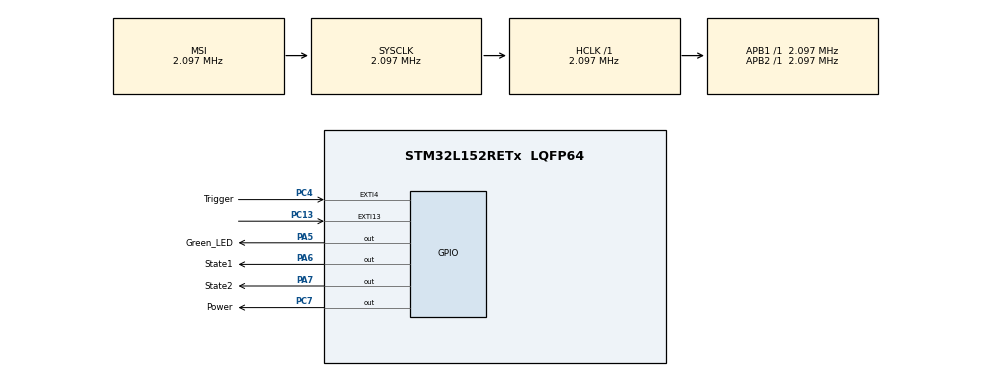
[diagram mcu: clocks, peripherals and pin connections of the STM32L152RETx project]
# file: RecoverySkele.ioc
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Mcu.Family=STM32L1
Mcu.Name=STM32L152RETx
Mcu.Package=LQFP64
NVIC.EXTI15_10_IRQn=true\:0\:0\:false\:false\:true\:true\:true
NVIC.EXTI4_IRQn=true\:0\:0\:false\:false\:true\:true\:true
NVIC.PriorityGroup=NVIC_PRIORITYGROUP_4
PA5.GPIO_Label=Green_LED
PA5.GPIO_Speed=GPIO_SPEED_FREQ_HIGH
PA5.Signal=GPIO_Output
PA6.GPIO_Label=State1
PA6.Signal=GPIO_Output
PA7.GPIO_Label=State2
PA7.Signal=GPIO_Output
PC13-WKUP2.Signal=GPXTI13
PC4.GPIO_Label=Trigger
PC4.Signal=GPXTI4
PC7.GPIO_Label=Power
PC7.Signal=GPIO_Output
ProjectManager.HeapSize=0x200
ProjectManager.StackSize=0x400
ProjectManager.TargetToolchain=MDK-ARM V5.27
RCC.AHBFreq_Value=2097000
RCC.APB1Freq_Value=2097000
RCC.APB2Freq_Value=2097000
RCC.HSE_VALUE=24000000
RCC.HSI_VALUE=16000000
RCC.LSE_VALUE=32768
RCC.MSI_VALUE=2097000
RCC.SYSCLKFreq_VALUE=2097000
RCC.VCOOutputFreq_Value=48000000
board=custom

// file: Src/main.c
/* USER CODE BEGIN Header */
/**
  ******************************************************************************
  * @file           : main.c
  * @brief          : Main program body
  ******************************************************************************
  * @attention
  *
  * <h2><center>&copy; Copyright (c) 2020 STMicroelectronics.
  * All rights reserved.</center></h2>
  *
  * This software component is licensed by ST under BSD 3-Clause license,
  * the "License"; You may not use this file except in compliance with the
  * License. You may obtain a copy of the License at:
  *                        opensource.org/licenses/BSD-3-Clause
  *
  ******************************************************************************
  */
/* USER CODE END Header */

#include "main.h"

/* USER CODE BEGIN Includes */
#include <stdio.h>
#include "fake_op.h"
/* USER CODE END Includes */

/* USER CODE BEGIN PTD */
typedef enum{
	P_Core = 0x1, S_Core = 0x2, Reboot = 0x3, Sleep = 0x4, Killed = 0x5
}States;
/* USER CODE END PTD */

/* USER CODE BEGIN PV */
int trigger = 0;
/* USER CODE END PV */

void SystemClock_Config(void);
static void MX_GPIO_Init(void);

/* USER CODE BEGIN 0 */
void display_LED(States *state);
void goodnight();
/* USER CODE END 0 */

int main(void)
{
  /* USER CODE BEGIN 1 */
	States state = P_Core;
  /* USER CODE END 1 */

  /* MCU Configuration--------------------------------------------------------*/

  /* Reset of all peripherals, Initializes the Flash interface and the Systick. */
  HAL_Init();

  /* Configure the system clock */
  SystemClock_Config();

  /* USER CODE BEGIN SysInit */
	SystemPower_Config();
  /* USER CODE END SysInit */

  /* Initialize all configured peripherals */
  MX_GPIO_Init();
  /* USER CODE BEGIN 2 */
	HAL_InitTick(0xF);
  /* USER CODE END 2 */

  /* Infinite loop */
  /* USER CODE BEGIN WHILE */
  while (1)
  {
    //HAL_GPIO_WritePin(GPIOC, Power_Pin, GPIO_PIN_SET);
		//HAL_GPIO_WritePin(GPIOA, State1_Pin, GPIO_PIN_SET);
		//HAL_GPIO_WritePin(GPIOA, State2_Pin, GPIO_PIN_SET);
    /* USER CODE END WHILE */

    /* USER CODE BEGIN 3 */
		switch(state){
			case P_Core:
				if (trigger == 1) { state = S_Core; }
				if (my_op() == 7) {
					HAL_GPIO_WritePin(GPIOC, Power_Pin, GPIO_PIN_SET);
					HAL_GPIO_WritePin(GPIOA, State1_Pin, GPIO_PIN_SET);
					HAL_GPIO_WritePin(GPIOA, State2_Pin, GPIO_PIN_SET);
				}
				break;
			case S_Core:
				if (trigger == 1) { state = Reboot; }
				break;
			case Reboot:
				//FLASH LEDS for REBOOT
				state = Sleep;
				break;
			case Sleep:
				//if (trigger == 1) { state = P_Core; }
				state = P_Core;
				//HAL_GPIO_WritePin(GPIOA, Green_LED_Pin, GPIO_PIN_SET);
				goodnight();
				//HAL_GPIO_WritePin(GPIOA, Green_LED_Pin, GPIO_PIN_SET);
				break;
			case Killed:
				state = Killed;
				HAL_GPIO_WritePin(GPIOC, Power_Pin, GPIO_PIN_RESET);
				break;
		}
			//RESET TRIGGER
		trigger = 0;
		display_LED(&state);

  }
  /* USER CODE END 3 */
}

void SystemClock_Config(void)
{
  RCC_OscInitTypeDef RCC_OscInitStruct = {0};
  RCC_ClkInitTypeDef RCC_ClkInitStruct = {0};

  /** Configure the main internal regulator output voltage
  */
  __HAL_PWR_VOLTAGESCALING_CONFIG(PWR_REGULATOR_VOLTAGE_SCALE1);
  /** Initializes the CPU, AHB and APB busses clocks
  */
  RCC_OscInitStruct.OscillatorType = RCC_OSCILLATORTYPE_MSI;
  RCC_OscInitStruct.MSIState = RCC_MSI_ON;
  RCC_OscInitStruct.MSICalibrationValue = 0;
  RCC_OscInitStruct.MSIClockRange = RCC_MSIRANGE_5;
  RCC_OscInitStruct.PLL.PLLState = RCC_PLL_NONE;
  if (HAL_RCC_OscConfig(&RCC_OscInitStruct) != HAL_OK)
  {
    Error_Handler();
  }
  /** Initializes the CPU, AHB and APB busses clocks
  */
  RCC_ClkInitStruct.ClockType = RCC_CLOCKTYPE_HCLK|RCC_CLOCKTYPE_SYSCLK
                              |RCC_CLOCKTYPE_PCLK1|RCC_CLOCKTYPE_PCLK2;
  RCC_ClkInitStruct.SYSCLKSource = RCC_SYSCLKSOURCE_MSI;
  RCC_ClkInitStruct.AHBCLKDivider = RCC_SYSCLK_DIV1;
  RCC_ClkInitStruct.APB1CLKDivider = RCC_HCLK_DIV1;
  RCC_ClkInitStruct.APB2CLKDivider = RCC_HCLK_DIV1;

  if (HAL_RCC_ClockConfig(&RCC_ClkInitStruct, FLASH_LATENCY_0) != HAL_OK)
  {
    Error_Handler();
  }
}

static void MX_GPIO_Init(void)
{
  GPIO_InitTypeDef GPIO_InitStruct = {0};

  /* GPIO Ports Clock Enable */
  __HAL_RCC_GPIOC_CLK_ENABLE();
  __HAL_RCC_GPIOA_CLK_ENABLE();

  /*Configure GPIO pin Output Level */
  HAL_GPIO_WritePin(GPIOA, Green_LED_Pin|State1_Pin|State2_Pin, GPIO_PIN_RESET);

  /*Configure GPIO pin Output Level */
  HAL_GPIO_WritePin(Power_GPIO_Port, Power_Pin, GPIO_PIN_RESET);

  /*Configure GPIO pins : PC13 Trigger_Pin */
  GPIO_InitStruct.Pin = GPIO_PIN_13|Trigger_Pin;
  GPIO_InitStruct.Mode = GPIO_MODE_IT_RISING;
  GPIO_InitStruct.Pull = GPIO_NOPULL;
  HAL_GPIO_Init(GPIOC, &GPIO_InitStruct);

  /*Configure GPIO pin : Green_LED_Pin */
  GPIO_InitStruct.Pin = Green_LED_Pin;
  GPIO_InitStruct.Mode = GPIO_MODE_OUTPUT_PP;
  GPIO_InitStruct.Pull = GPIO_NOPULL;
  GPIO_InitStruct.Speed = GPIO_SPEED_FREQ_HIGH;
  HAL_GPIO_Init(Green_LED_GPIO_Port, &GPIO_InitStruct);

  /*Configure GPIO pins : State1_Pin State2_Pin */
  GPIO_InitStruct.Pin = State1_Pin|State2_Pin;
  GPIO_InitStruct.Mode = GPIO_MODE_OUTPUT_PP;
  GPIO_InitStruct.Pull = GPIO_NOPULL;
  GPIO_InitStruct.Speed = GPIO_SPEED_FREQ_LOW;
  HAL_GPIO_Init(GPIOA, &GPIO_InitStruct);

  /*Configure GPIO pin : Power_Pin */
  GPIO_InitStruct.Pin = Power_Pin;
  GPIO_InitStruct.Mode = GPIO_MODE_OUTPUT_PP;
  GPIO_InitStruct.Pull = GPIO_NOPULL;
  GPIO_InitStruct.Speed = GPIO_SPEED_FREQ_LOW;
  HAL_GPIO_Init(Power_GPIO_Port, &GPIO_InitStruct);

  /* EXTI interrupt init*/
  HAL_NVIC_SetPriority(EXTI4_IRQn, 0, 0);
  HAL_NVIC_EnableIRQ(EXTI4_IRQn);

  HAL_NVIC_SetPriority(EXTI15_10_IRQn, 0, 0);
  HAL_NVIC_EnableIRQ(EXTI15_10_IRQn);

}

/* USER CODE BEGIN 4 */
void HAL_GPIO_EXTI_Callback(uint16_t GPIO_Pin){
	trigger = 1;
}

void display_LED(States *state){
		switch(*state){
			case P_Core:
				HAL_GPIO_WritePin(GPIOC, Power_Pin, GPIO_PIN_RESET);
				HAL_GPIO_WritePin(GPIOA, State1_Pin, GPIO_PIN_RESET);
				HAL_GPIO_WritePin(GPIOA, State2_Pin, GPIO_PIN_SET);
				break;
			case S_Core:
				HAL_GPIO_WritePin(GPIOC, Power_Pin, GPIO_PIN_RESET);
				HAL_GPIO_WritePin(GPIOA, State1_Pin, GPIO_PIN_SET);
				HAL_GPIO_WritePin(GPIOA, State2_Pin, GPIO_PIN_RESET);
				break;
			case Reboot:
				HAL_GPIO_WritePin(GPIOC, Power_Pin, GPIO_PIN_RESET);
				HAL_GPIO_WritePin(GPIOA, State1_Pin, GPIO_PIN_SET);
				HAL_GPIO_WritePin(GPIOA, State2_Pin, GPIO_PIN_SET);
				break;
			case Sleep:
				HAL_GPIO_WritePin(GPIOC, Power_Pin, GPIO_PIN_SET);
				HAL_GPIO_WritePin(GPIOA, State1_Pin, GPIO_PIN_RESET);
				HAL_GPIO_WritePin(GPIOA, State2_Pin, GPIO_PIN_RESET);
				break;
			case Killed:
				HAL_GPIO_WritePin(GPIOC, Power_Pin, GPIO_PIN_SET);
				HAL_GPIO_WritePin(GPIOA, State1_Pin, GPIO_PIN_RESET);
				HAL_GPIO_WritePin(GPIOA, State2_Pin, GPIO_PIN_SET);
				break;
		}
}

void goodnight() {

		/* Enable the power down mode during Sleep mode */
    __HAL_FLASH_SLEEP_POWERDOWN_ENABLE();

    /* Suspend Tick increment to prevent wakeup by Systick interrupt.         */
    /* Otherwise the Systick interrupt will wake up the device within 1ms     */
    /* (HAL time base).                                                       */
    HAL_SuspendTick();

    /* Enter Sleep Mode , wake up is done once Key push button is pressed */
    HAL_PWR_EnterSLEEPMode(PWR_LOWPOWERREGULATOR_ON, PWR_SLEEPENTRY_WFI);

    /* Resume Tick interrupt if disabled prior to sleep mode entry */
    HAL_ResumeTick();

    /* Small delay to be sure that another button press is not detected */
    HAL_Delay(100);
}

/* USER CODE END 4 */

void Error_Handler(void)
{
}

/************************ (C) COPYRIGHT STMicroelectronics *****END OF FILE****/
